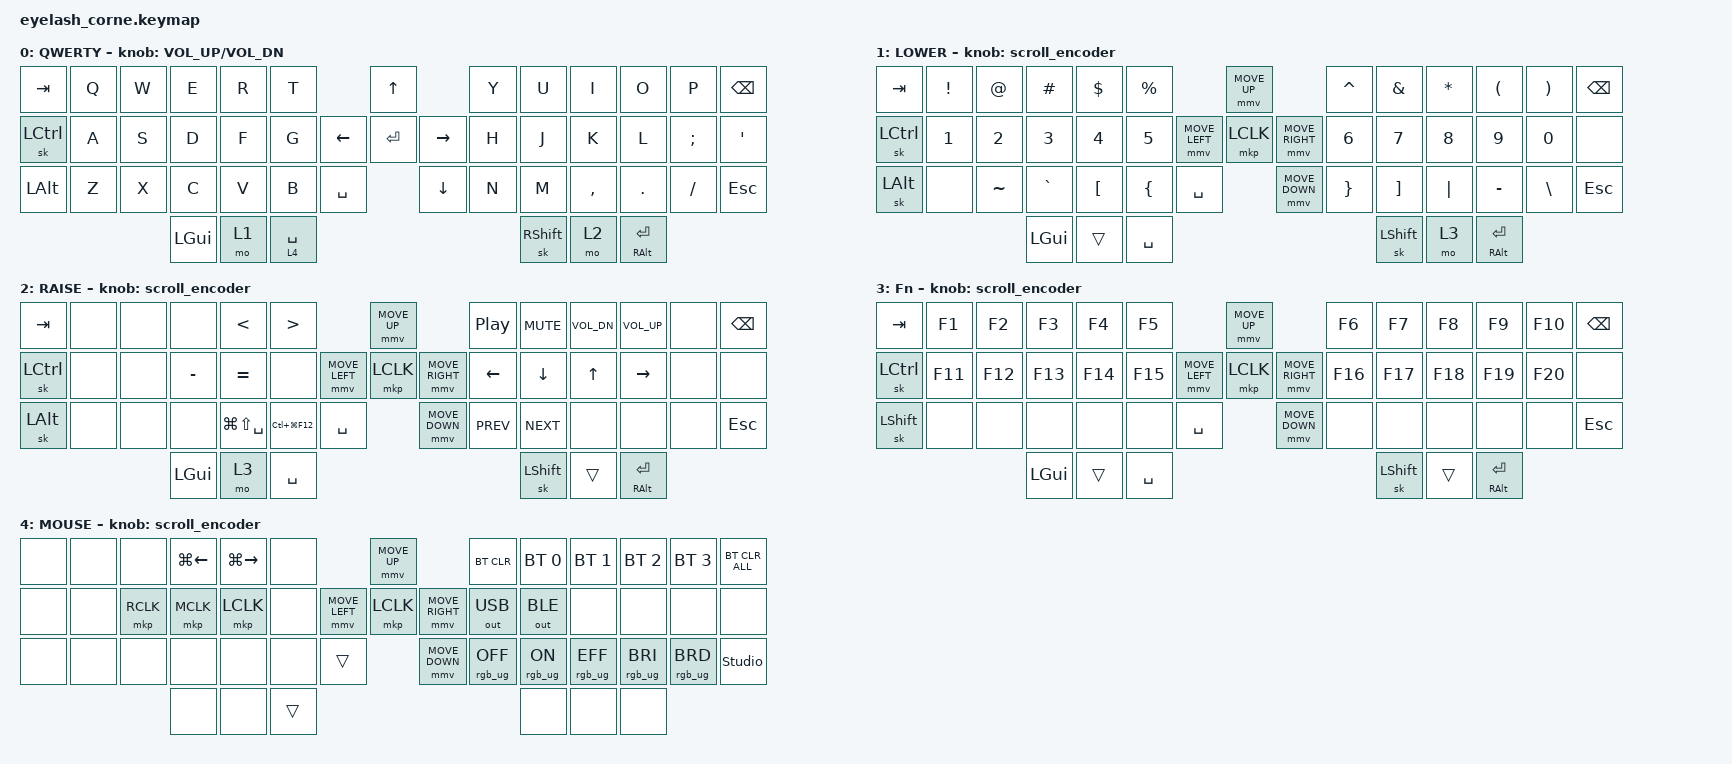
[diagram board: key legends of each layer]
#define ZMK_POINTING_DEFAULT_MOVE_VAL 1200  // 600
#define ZMK_POINTING_DEFAULT_SCRL_VAL 25   // 10

#include <input/processors.dtsi>
#include <zephyr/dt-bindings/input/input-event-codes.h>
#include <behaviors.dtsi>
#include <dt-bindings/zmk/bt.h>
#include <dt-bindings/zmk/keys.h>
#include <dt-bindings/zmk/outputs.h>
#include <dt-bindings/zmk/pointing.h>
#include <dt-bindings/zmk/rgb.h>

&mmv_input_listener { input-processors = <&zip_xy_scaler 2 1>; };

&msc_input_listener { input-processors = <&zip_scroll_scaler 2 1>; };

&msc {
    acceleration-exponent = <1>;      // 0
    time-to-max-speed-ms = <100>;     // 300
    delay-ms = <0>;                   // 0
};

&mmv {
    time-to-max-speed-ms = <500>;
    acceleration-exponent = <1>;
    trigger-period-ms = <16>;
};

&soft_off { hold-time-ms = <2000>; };

// One-shot modifier config — matches QMK ONESHOT_TIMEOUT 2000ms
&sk {
    release-after-ms = <2000>;
    quick-release;
};

/ {
    behaviors {
        lt_spc: lt_spc {
            compatible = "zmk,behavior-hold-tap";
            #binding-cells = <2>;
            flavor = "balanced";
            tapping-term-ms = <200>;
            quick-tap-ms = <150>;
            require-prior-idle-ms = <125>;
            bindings = <&mo>, <&kp>;
        };
    };

    rgb_encoder: rgb_encoder {
        compatible = "zmk,behavior-sensor-rotate";
        #sensor-binding-cells = <0>;
        bindings = <&rgb_ug RGB_BRI>, <&rgb_ug RGB_BRD>;
    };

    scroll_encoder: scroll_encoder {
        compatible = "zmk,behavior-sensor-rotate";
        #sensor-binding-cells = <0>;
        bindings = <&msc SCRL_DOWN>, <&msc SCRL_UP>;
        tap-ms = <100>;
    };

    combos {
        compatible = "zmk,combos";

        // Triple-key soft-off: Q + S + Z
        softoff {
            bindings = <&soft_off>;
            key-positions = <1 15 29>;
            require-prior-idle-ms = <500>;
        };

        // Vim-style Escape on home row: J + K
        jk_esc {
            bindings = <&kp ESC>;
            key-positions = <23 24>;
        };
    };

    keymap {
        compatible = "zmk,keymap";

        // ─────────────────────────────────────────────────────────────────────
        // Layer 0 — QWERTY
        //   Left mods:  one-shot LCTRL (home row), LALT (bottom row)
        //   Thumbs:     LGUI / mo1(lower) / lt4+Space  |  sk(RSHFT) / mo2(raise) / mt(RALT)Enter
        //   Joystick:   arrow keys + Enter
        //   Encoder:    volume up / down
        // ─────────────────────────────────────────────────────────────────────
        default_layer {
            display-name = "QWERTY";
            bindings = <
&kp TAB    &kp Q  &kp W  &kp E      &kp R   &kp T                                    &kp UP                      &kp Y      &kp U  &kp I      &kp O    &kp P     &kp BSPC
&sk LCTRL  &kp A  &kp S  &kp D      &kp F   &kp G                    &kp LEFT         &kp ENTER  &kp RIGHT        &kp H      &kp J  &kp K      &kp L    &kp SEMI  &kp SQT
&kp LALT   &kp Z  &kp X  &kp C      &kp V   &kp B        &kp SPACE                   &kp DOWN                    &kp N      &kp M  &kp COMMA  &kp DOT  &kp FSLH  &kp ESC
                          &kp LGUI  &mo 1   &lt_spc 4 SPACE                                                           &sk RSHFT  &mo 2  &mt RALT ENTER
            >;

            sensor-bindings = <&inc_dec_kp C_VOL_UP C_VOL_DN>;
        };

        // ─────────────────────────────────────────────────────────────────────
        // Layer 1 — LOWER
        //   Top row:    symbols  ! @ # $ %  |  ^ & * ( )
        //   Home row:   numbers  1 2 3 4 5  |  6 7 8 9 0
        //   Bottom row: ~ ` [ {            |  } ] | - \
        //   Thumbs:     LGUI / ___ / Space  |  sk(LSHFT) / mo3 / mt(RALT)Enter
        //   Joystick:   mouse movement
        //   Encoder:    scroll
        // ─────────────────────────────────────────────────────────────────────
        lower_layer {
            display-name = "LOWER";
            bindings = <
&kp TAB   &kp EXCL  &kp AT     &kp HASH   &kp DLLR  &kp PRCNT                        &mmv MOVE_UP                    &kp CARET  &kp AMPS  &kp ASTRK  &kp LPAR  &kp RPAR  &kp BSPC
&sk LCTRL &kp N1    &kp N2     &kp N3     &kp N4    &kp N5            &mmv MOVE_LEFT   &mkp LCLK  &mmv MOVE_RIGHT     &kp N6     &kp N7    &kp N8     &kp N9    &kp N0    &none
&sk LALT  &none     &kp TILDE  &kp GRAVE  &kp LBKT  &kp LBRC          &kp SPACE                  &mmv MOVE_DOWN       &kp RBRC   &kp RBKT  &kp PIPE   &kp MINUS &kp BSLH  &kp ESC
                               &kp LGUI   &trans    &kp SPACE                                                          &sk LSHFT  &mo 3     &mt RALT ENTER
            >;

            sensor-bindings = <&scroll_encoder>;
        };

        // ─────────────────────────────────────────────────────────────────────
        // Layer 2 — RAISE
        //   Top row:    < >                           |  play/pause mute vol- vol+
        //   Home row:   - =                           |  ← ↓ ↑ →
        //   Bottom row: GUI+Shift+Space, Ctrl+GUI+F12 |  prev next
        //   Thumbs:     LGUI / mo3 / Space  |  sk(LSHFT) / ___ / mt(RALT)Enter
        //   Joystick:   mouse movement
        //   Encoder:    scroll
        // ─────────────────────────────────────────────────────────────────────
        raise_layer {
            display-name = "RAISE";
            bindings = <
&kp TAB   &none  &none  &none      &kp LT             &kp GT                               &mmv MOVE_UP                    &kp C_PP    &kp C_MUTE   &kp C_VOL_DN  &kp C_VOL_UP  &none  &kp BSPC
&sk LCTRL &none  &none  &kp MINUS  &kp EQUAL          &none                &mmv MOVE_LEFT   &mkp LCLK   &mmv MOVE_RIGHT     &kp LEFT    &kp DOWN     &kp UP        &kp RIGHT     &none  &none
&sk LALT  &none  &none  &none      &kp LG(LS(SPACE))  &kp LC(LG(F12))      &kp SPACE                   &mmv MOVE_DOWN       &kp C_PREV  &kp C_NEXT   &none         &none         &none  &kp ESC
                         &kp LGUI  &mo 3               &kp SPACE                                                              &sk LSHFT   &trans       &mt RALT ENTER
            >;

            sensor-bindings = <&scroll_encoder>;
        };

        // ─────────────────────────────────────────────────────────────────────
        // Layer 3 — Fn
        //   Top row:    F1–F5   |  F6–F10
        //   Home row:   F11–F15 |  F16–F20
        //   Thumbs:     LGUI / ___ / Space  |  sk(LSHFT) / ___ / mt(RALT)Enter
        //   Joystick:   mouse movement
        //   Encoder:    scroll
        // ─────────────────────────────────────────────────────────────────────
        fn_layer {
            display-name = "Fn";
            bindings = <
&kp TAB   &kp F1   &kp F2   &kp F3   &kp F4   &kp F5                           &mmv MOVE_UP                    &kp F6   &kp F7   &kp F8   &kp F9   &kp F10  &kp BSPC
&sk LCTRL &kp F11  &kp F12  &kp F13  &kp F14  &kp F15          &mmv MOVE_LEFT   &mkp LCLK  &mmv MOVE_RIGHT     &kp F16  &kp F17  &kp F18  &kp F19  &kp F20  &none
&sk LSHFT &none    &none    &none    &none    &none             &kp SPACE                   &mmv MOVE_DOWN       &none    &none    &none    &none    &none    &kp ESC
                             &kp LGUI &trans   &kp SPACE                                                         &sk LSHFT &trans   &mt RALT ENTER
            >;

            sensor-bindings = <&scroll_encoder>;
        };

        // ─────────────────────────────────────────────────────────────────────
        // Layer 4 — MOUSE / BT / RGB
        //   Left side:  desktop switching (GUI+←/→), mouse buttons
        //   Right top:  BT_CLR  BT0  BT1  BT2  BT3  BT_CLR_ALL
        //   Right home: OUT_USB  OUT_BLE
        //   Right bot:  RGB off/on/effect/bright+/bright-  studio_unlock
        //   Joystick:   mouse movement
        //   Encoder:    scroll
        // ─────────────────────────────────────────────────────────────────────
        mouse_layer {
            display-name = "MOUSE";
            bindings = <
&none  &none  &none      &kp LG(LEFT)  &kp LG(RIGHT)  &none                         &mmv MOVE_UP                    &bt BT_CLR      &bt BT_SEL 0   &bt BT_SEL 1    &bt BT_SEL 2    &bt BT_SEL 3    &bt BT_CLR_ALL
&none  &none  &mkp RCLK  &mkp MCLK     &mkp LCLK      &none         &mmv MOVE_LEFT   &mkp LCLK      &mmv MOVE_RIGHT  &out OUT_USB    &out OUT_BLE   &none           &none           &none           &none
&none  &none  &none      &none         &none          &none          &trans                          &mmv MOVE_DOWN   &rgb_ug RGB_OFF &rgb_ug RGB_ON &rgb_ug RGB_EFF &rgb_ug RGB_BRI &rgb_ug RGB_BRD &studio_unlock
                          &none         &none          &trans                                                          &none           &none          &none
            >;

            sensor-bindings = <&scroll_encoder>;
        };
    };
};
